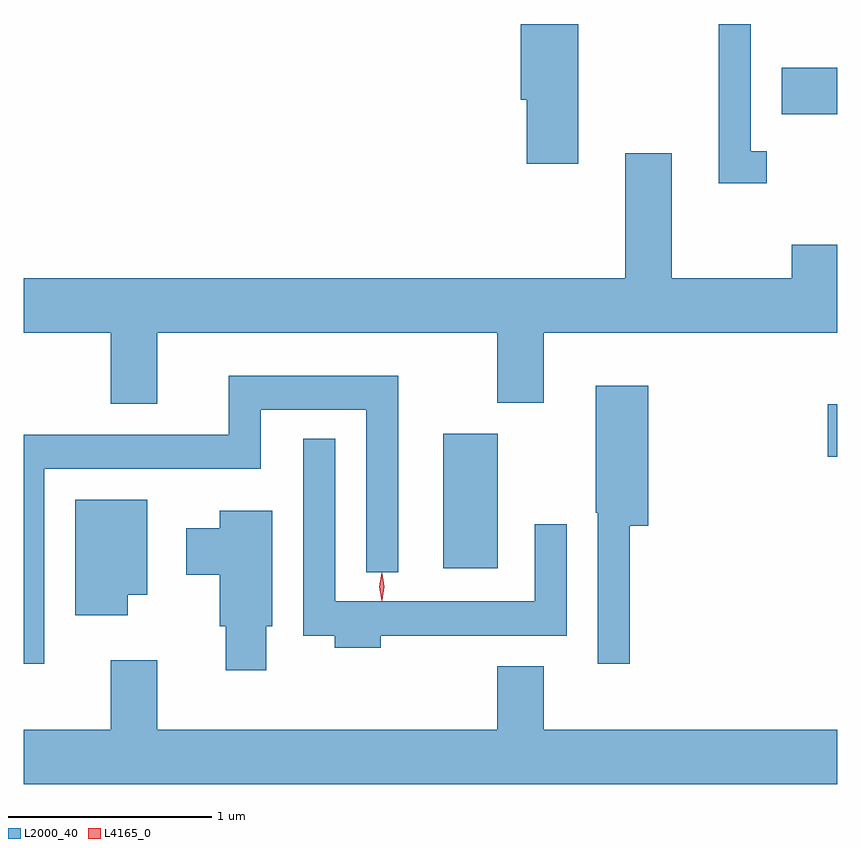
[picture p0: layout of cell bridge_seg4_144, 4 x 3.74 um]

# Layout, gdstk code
import gdstk
lib = gdstk.Library(unit=1e-6, precision=1e-09)
def R(c, l, rs):  # rectangles x0, y0, x1, y1
    for r in rs: c.add(gdstk.rectangle(r[:2], r[2:], *l))
def P(c, l, *ps):  # polygons
    for p in ps: c.add(gdstk.Polygon(p, *l))
L2000_40 = (2000, 40)
L4165_0 = (4165, 0)

bridge_seg4_144 = lib.new_cell('bridge_seg4_144')
R(bridge_seg4_144, L2000_40, [(878.296,1313.556,878.564,1314.219), (880.186,1314.106,880.233,1314.364), (879.961,1315.791,880.233,1316.019)])
P(bridge_seg4_144, L2000_40, [(879.888,1315.609),(879.809,1315.609),(879.809,1316.234),(879.651,1316.234),(879.651,1315.451),(879.888,1315.451)],
  [(878.959,1316.234),(878.676,1316.234),(878.676,1315.861),(878.706,1315.861),(878.706,1315.546),(878.959,1315.546)],
  [(876.889,1314.716),(878.561,1314.716),(878.561,1314.371),(878.789,1314.371),(878.789,1314.716),(880.233,1314.716),(880.233,1315.149),(880.011,1315.149),(880.011,1314.984),(879.419,1314.984),(879.419,1315.599),(879.191,1315.599),(879.191,1314.984),(876.233,1314.984),(876.233,1314.716),(876.661,1314.716),(876.661,1314.366),(876.889,1314.366)],
  [(876.334,1314.046),(877.399,1314.046),(877.399,1314.336),(877.916,1314.336),(877.916,1313.538),(878.074,1313.538),(878.074,1314.504),(877.241,1314.504),(877.241,1314.214),(876.233,1314.214),(876.233,1313.088),(876.334,1313.088)],
  [(879.214,1313.766),(879.304,1313.766),(879.304,1314.454),(879.046,1314.454),(879.046,1313.83),(879.056,1313.83),(879.056,1313.088),(879.214,1313.088)],
  [(877.989,1313.226),(878.904,1313.226),(878.904,1313.773),(878.746,1313.773),(878.746,1313.394),(877.764,1313.394),(877.764,1314.193),(877.606,1314.193),(877.606,1313.226),(877.761,1313.226),(877.761,1313.166),(877.989,1313.166)],
  [(876.744,1313.426),(876.839,1313.426),(876.839,1313.894),(876.486,1313.894),(876.486,1313.326),(876.744,1313.326)],
  [(877.424,1313.271),(877.454,1313.271),(877.454,1313.839),(877.196,1313.839),(877.196,1313.754),(877.031,1313.754),(877.031,1313.526),(877.196,1313.526),(877.196,1313.271),(877.226,1313.271),(877.226,1313.056),(877.424,1313.056)],
  [(880.233,1312.764),(878.789,1312.764),(878.789,1313.074),(878.561,1313.074),(878.561,1312.764),(876.889,1312.764),(876.889,1313.104),(876.661,1313.104),(876.661,1312.764),(876.233,1312.764),(876.233,1312.496),(880.233,1312.496)])
P(bridge_seg4_144, L4165_0, [(877.995,1313.399),(877.994,1313.4),(877.985,1313.466),(877.994,1313.532),(877.995,1313.533),(877.995,1313.532),(878.005,1313.466),(877.995,1313.4)],
  [(877.992,1313.397),(877.992,1313.398),(877.982,1313.467),(877.992,1313.536),(877.992,1313.536),(877.993,1313.536),(878.002,1313.467),(877.993,1313.398)])

lib.write_gds('bridge_seg4_144.gds')
